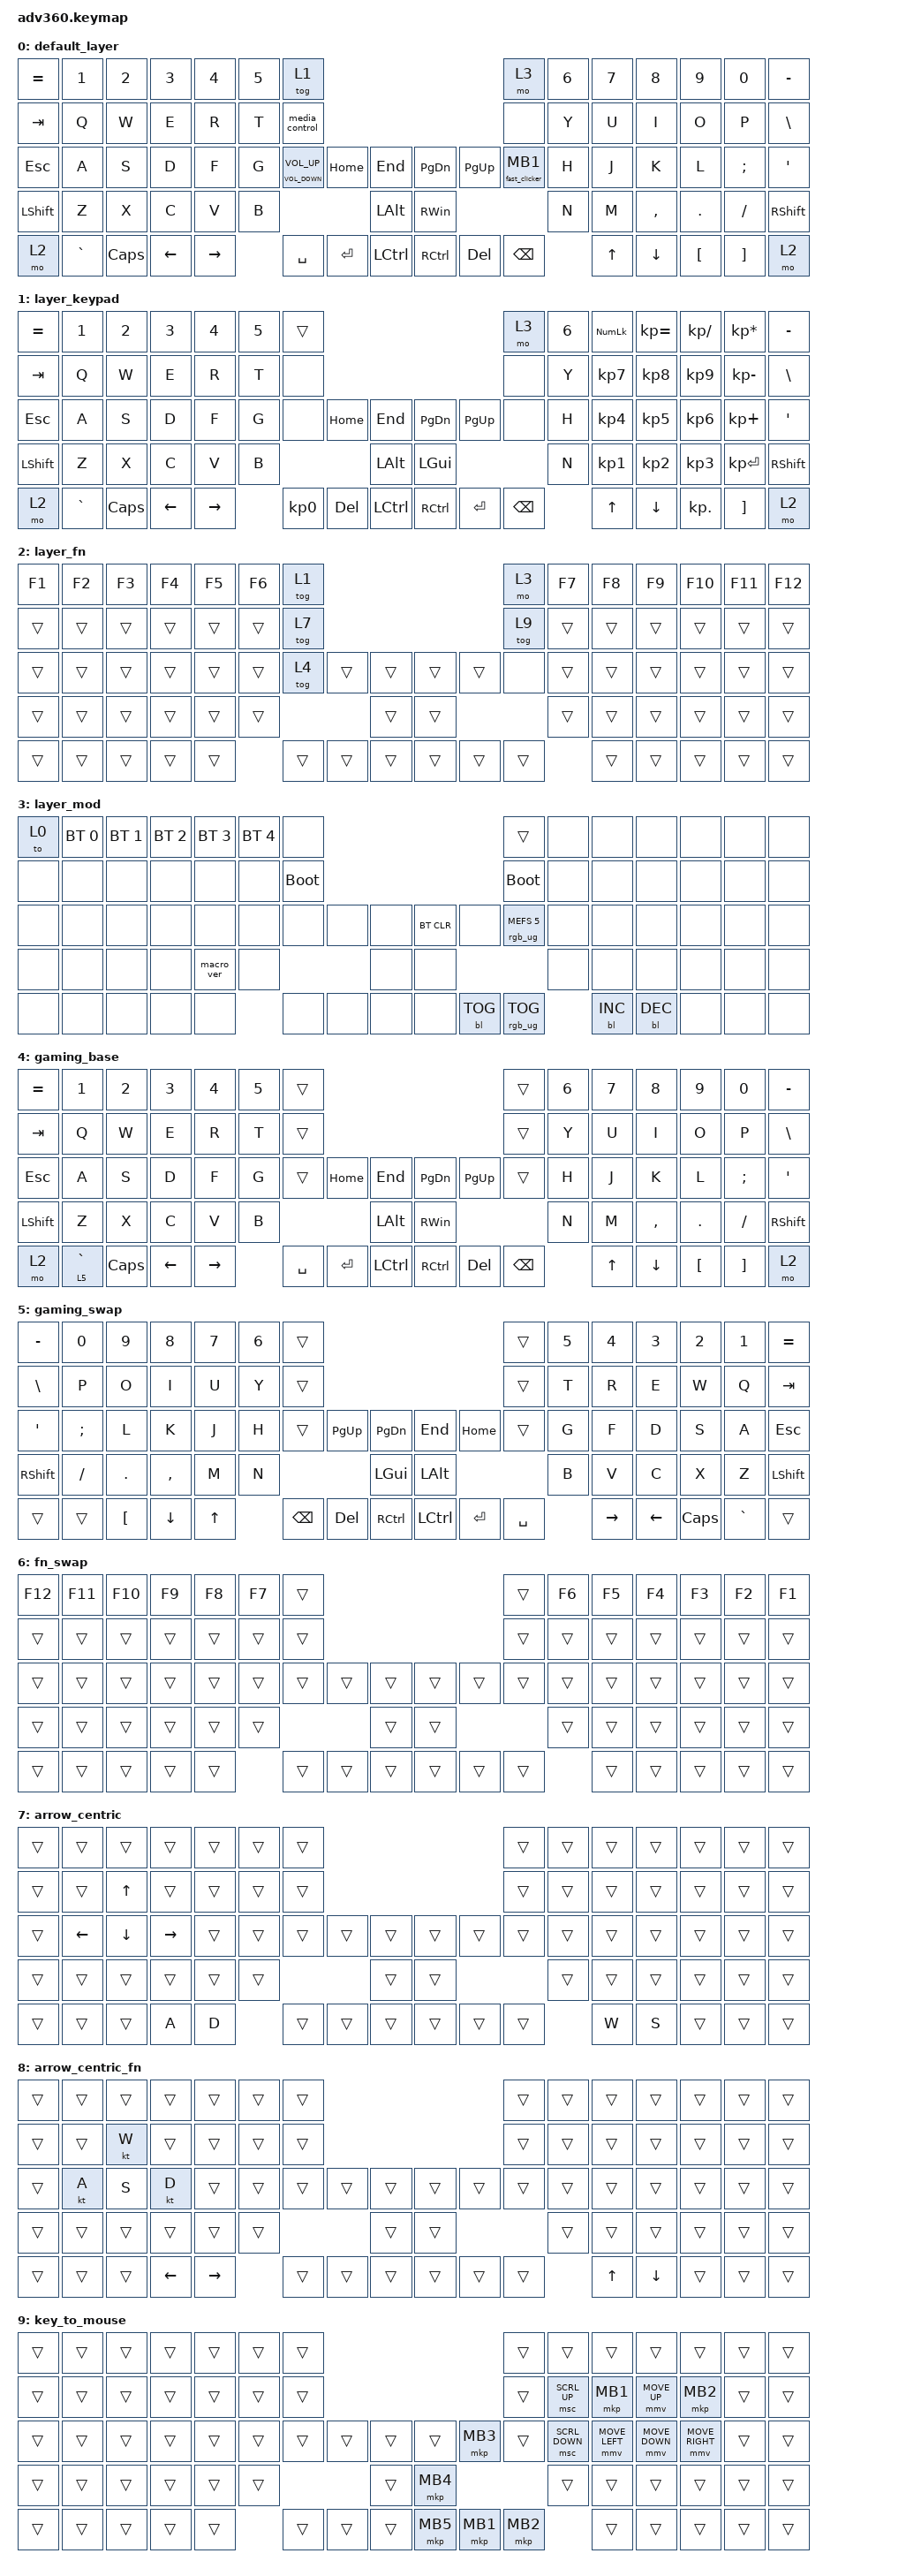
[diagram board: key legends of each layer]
/*
 * Copyright (c) 2020 The ZMK Contributors
 *
 * SPDX-License-Identifier: MIT
 */
/* THIS FILE WAS GENERATED!
 *
 * This file was generated automatically. You may or may not want to
 * edit it directly.
 */

#include <behaviors.dtsi>
#include <dt-bindings/zmk/backlight.h>
#include <dt-bindings/zmk/bt.h>
#include <dt-bindings/zmk/keys.h>
#include <dt-bindings/zmk/pointing.h>
#include <dt-bindings/zmk/rgb.h>
#include <dt-bindings/zmk/stp.h>
#include <dt-bindings/zmk/pointing.h>

/ {
    behaviors {
      #include "macros.dtsi"
      #include "version.dtsi"

        hm: homerow_mods {
            compatible = "zmk,behavior-hold-tap";
            label = "HOMEROW_MODS";
            #binding-cells = <2>;
            tapping-term-ms = <200>;
            quick_tap_ms = <175>;
            flavor = "tap-preferred";
            bindings = <&kp>, <&kp>;
        };

        media_control: media_control {
            compatible = "zmk,behavior-tap-dance";
            label = "MEDIA_CONTROL";
            #binding-cells = <0>;
            bindings = <&kp C_PLAY_PAUSE>, <&kp C_NEXT>, <&kp C_PREVIOUS>;

            tapping-term-ms = <400>;
        };

        key_or_mode: key_or_mode {
            compatible = "zmk,behavior-hold-tap";
            label = "KEY_OR_MODE";
            bindings = <&mo>, <&kp>;

            #binding-cells = <2>;
            tapping-term-ms = <200>;
            hold-while-undecided;
            quick-tap-ms = <175>;
        };
    };

    combos {
        compatible = "zmk,combos";

        fast_right_click {
            bindings = <&fast_clicker RCLK>;
            key-positions = <39 59>;
        };
    };

    macros {
        fast_clicker: fast_clicker {
            compatible = "zmk,behavior-macro-one-param";
            #binding-cells = <1>;
            bindings =
                <&macro_tap>,
                <&macro_param_1to1 &mkp MACRO_PLACEHOLDER &macro_param_1to1 &mkp MACRO_PLACEHOLDER &macro_param_1to1 &mkp MACRO_PLACEHOLDER &macro_param_1to1 &mkp MACRO_PLACEHOLDER &macro_param_1to1 &mkp MACRO_PLACEHOLDER &macro_param_1to1 &mkp MACRO_PLACEHOLDER &macro_param_1to1 &mkp MACRO_PLACEHOLDER &macro_param_1to1 &mkp MACRO_PLACEHOLDER &macro_param_1to1 &mkp MACRO_PLACEHOLDER &macro_param_1to1 &mkp MACRO_PLACEHOLDER &macro_param_1to1 &mkp MACRO_PLACEHOLDER &macro_param_1to1 &mkp MACRO_PLACEHOLDER &macro_param_1to1 &mkp MACRO_PLACEHOLDER &macro_param_1to1 &mkp MACRO_PLACEHOLDER &macro_param_1to1 &mkp MACRO_PLACEHOLDER &macro_param_1to1 &mkp MACRO_PLACEHOLDER &macro_param_1to1 &mkp MACRO_PLACEHOLDER &macro_param_1to1 &mkp MACRO_PLACEHOLDER &macro_param_1to1 &mkp MACRO_PLACEHOLDER &macro_param_1to1 &mkp MACRO_PLACEHOLDER &macro_param_1to1 &mkp MACRO_PLACEHOLDER &macro_param_1to1 &mkp MACRO_PLACEHOLDER &macro_param_1to1 &mkp MACRO_PLACEHOLDER &macro_param_1to1 &mkp MACRO_PLACEHOLDER &macro_param_1to1 &mkp MACRO_PLACEHOLDER &macro_param_1to1 &mkp MACRO_PLACEHOLDER &macro_param_1to1 &mkp MACRO_PLACEHOLDER &macro_param_1to1 &mkp MACRO_PLACEHOLDER &macro_param_1to1 &mkp MACRO_PLACEHOLDER &macro_param_1to1 &mkp MACRO_PLACEHOLDER>;

            label = "FAST_CLICKER";
            wait-ms = <1>;
            tap-ms = <1>;
        };
    };

    keymap {
        compatible = "zmk,keymap";

        default_layer {
            bindings = <
&kp EQUAL  &kp N1     &kp N2    &kp N3    &kp N4     &kp N5  &tog 1                                                                          &mo 3              &kp N6  &kp N7  &kp N8     &kp N9    &kp N0    &kp MINUS
&kp TAB    &kp Q      &kp W     &kp E     &kp R      &kp T   &media_control                                                                  &none              &kp Y   &kp U   &kp I      &kp O     &kp P     &kp BSLH
&kp ESC    &kp A      &kp S     &kp D     &kp F      &kp G   &mt C_VOLUME_DOWN C_VOLUME_UP  &kp HOME   &kp END        &kp PG_DN  &kp PG_UP   &fast_clicker MB1  &kp H   &kp J   &kp K      &kp L     &kp SEMI  &kp SQT
&kp LSHFT  &kp Z      &kp X     &kp C     &kp V      &kp B                                             &kp LALT       &kp RWIN                                  &kp N   &kp M   &kp COMMA  &kp DOT   &kp FSLH  &kp RSHFT
&mo 2      &kp GRAVE  &kp CAPS  &kp LEFT  &kp RIGHT          &kp SPACE                      &kp ENTER  &kp LCTRL      &kp RCTRL  &kp DELETE  &kp BACKSPACE              &kp UP  &kp DOWN   &kp LBKT  &kp RBKT  &mo 2
            >;
        };

        layer_keypad {
            bindings = <
&kp EQUAL  &kp N1     &kp N2    &kp N3    &kp N4     &kp N5  &trans                                                                     &mo 3          &kp N6  &kp KP_NUM  &kp KP_EQUAL  &kp KP_DIVIDE  &kp KP_MULTIPLY  &kp MINUS
&kp TAB    &kp Q      &kp W     &kp E     &kp R      &kp T   &none                                                                      &none          &kp Y   &kp KP_N7   &kp KP_N8     &kp KP_N9      &kp KP_MINUS     &kp BSLH
&kp ESC    &kp A      &kp S     &kp D     &kp F      &kp G   &none      &kp HOME  &kp END               &kp PAGE_DOWN      &kp PAGE_UP  &none          &kp H   &kp KP_N4   &kp KP_N5     &kp KP_N6      &kp KP_PLUS      &kp SQT
&kp LSHFT  &kp Z      &kp X     &kp C     &kp V      &kp B                        &kp LEFT_ALT          &kp LGUI                                       &kp N   &kp KP_N1   &kp KP_N2     &kp KP_N3      &kp KP_ENTER     &kp RSHFT
&mo 2      &kp GRAVE  &kp CAPS  &kp LEFT  &kp RIGHT          &kp KP_N0  &kp DEL   &kp LEFT_CONTROL      &kp RIGHT_CONTROL  &kp ENTER    &kp BACKSPACE          &kp UP      &kp DOWN      &kp KP_DOT     &kp RBKT         &mo 2
            >;
        };

        layer_fn {
            bindings = <
&kp F1  &kp F2  &kp F3  &kp F4  &kp F5  &kp F6  &tog 1                                      &mo 3   &kp F7  &kp F8  &kp F9  &kp F10  &kp F11  &kp F12
&trans  &trans  &trans  &trans  &trans  &trans  &tog 7                                      &tog 9  &trans  &trans  &trans  &trans   &trans   &trans
&trans  &trans  &trans  &trans  &trans  &trans  &tog 4  &trans  &trans      &trans  &trans  &none   &trans  &trans  &trans  &trans   &trans   &trans
&trans  &trans  &trans  &trans  &trans  &trans                  &trans      &trans                  &trans  &trans  &trans  &trans   &trans   &trans
&trans  &trans  &trans  &trans  &trans          &trans  &trans  &trans      &trans  &trans  &trans          &trans  &trans  &trans   &trans   &trans
            >;
        };

        layer_mod {
            bindings = <
&to 0  &bt BT_SEL 0  &bt BT_SEL 1  &bt BT_SEL 2  &bt BT_SEL 3  &bt BT_SEL 4  &none                                                  &trans                  &none  &none       &none       &none  &none  &none
&none  &none         &none         &none         &none         &none         &bootloader                                            &bootloader             &none  &none       &none       &none  &none  &none
&none  &none         &none         &none         &none         &none         &none        &none  &none      &bt BT_CLR  &none       &rgb_ug RGB_MEFS_CMD 5  &none  &none       &none       &none  &none  &none
&none  &none         &none         &none         &macro_ver    &none                             &none      &none                                           &none  &none       &none       &none  &none  &none
&none  &none         &none         &none         &none                       &none        &none  &none      &none       &bl BL_TOG  &rgb_ug RGB_TOG                &bl BL_INC  &bl BL_DEC  &none  &none  &none
            >;
        };

        gaming_base {
            bindings = <
&kp EQUAL  &kp N1                &kp N2    &kp N3    &kp N4     &kp N5  &trans                                                      &trans         &kp N6  &kp N7  &kp N8     &kp N9    &kp N0    &kp MINUS
&kp TAB    &kp Q                 &kp W     &kp E     &kp R      &kp T   &trans                                                      &trans         &kp Y   &kp U   &kp I      &kp O     &kp P     &kp BSLH
&kp ESC    &kp A                 &kp S     &kp D     &kp F      &kp G   &trans     &kp HOME   &kp END        &kp PG_DN  &kp PG_UP   &trans         &kp H   &kp J   &kp K      &kp L     &kp SEMI  &kp SQT
&kp LSHFT  &kp Z                 &kp X     &kp C     &kp V      &kp B                         &kp LALT       &kp RWIN                              &kp N   &kp M   &kp COMMA  &kp DOT   &kp FSLH  &kp RSHFT
&mo 2      &key_or_mode 5 GRAVE  &kp CAPS  &kp LEFT  &kp RIGHT          &kp SPACE  &kp ENTER  &kp LCTRL      &kp RCTRL  &kp DELETE  &kp BACKSPACE          &kp UP  &kp DOWN   &kp LBKT  &kp RBKT  &mo 2
            >;
        };

        gaming_swap {
            bindings = <
&kp MINUS  &kp N0    &kp N9    &kp N8     &kp N7  &kp N6  &trans                                                   &trans     &kp N5  &kp N4     &kp N3    &kp N2    &kp N1     &kp EQUAL
&kp BSLH   &kp P     &kp O     &kp I      &kp U   &kp Y   &trans                                                   &trans     &kp T   &kp R      &kp E     &kp W     &kp Q      &kp TAB
&kp SQT    &kp SEMI  &kp L     &kp K      &kp J   &kp H   &trans    &kp PG_UP  &kp PG_DN      &kp END    &kp HOME  &trans     &kp G   &kp F      &kp D     &kp S     &kp A      &kp ESC
&kp RSHFT  &kp FSLH  &kp DOT   &kp COMMA  &kp M   &kp N                        &kp LGUI       &kp LALT                        &kp B   &kp V      &kp C     &kp X     &kp Z      &kp LSHFT
&trans     &trans    &kp LBKT  &kp DOWN   &kp UP          &kp BSPC  &kp DEL    &kp RCTRL      &kp LCTRL  &kp RET   &kp SPACE          &kp RIGHT  &kp LEFT  &kp CAPS  &kp GRAVE  &trans
            >;
        };

        fn_swap {
            bindings = <
&kp F12  &kp F11  &kp F10  &kp F9  &kp F8  &kp F7  &trans                                      &trans  &kp F6  &kp F5  &kp F4  &kp F3  &kp F2  &kp F1
&trans   &trans   &trans   &trans  &trans  &trans  &trans                                      &trans  &trans  &trans  &trans  &trans  &trans  &trans
&trans   &trans   &trans   &trans  &trans  &trans  &trans  &trans  &trans      &trans  &trans  &trans  &trans  &trans  &trans  &trans  &trans  &trans
&trans   &trans   &trans   &trans  &trans  &trans                  &trans      &trans                  &trans  &trans  &trans  &trans  &trans  &trans
&trans   &trans   &trans   &trans  &trans          &trans  &trans  &trans      &trans  &trans  &trans          &trans  &trans  &trans  &trans  &trans
            >;
        };

        arrow_centric {
            bindings = <
&trans  &trans          &trans          &trans           &trans  &trans  &trans                                      &trans  &trans  &trans  &trans  &trans  &trans  &trans
&trans  &trans          &kp UP_ARROW    &trans           &trans  &trans  &trans                                      &trans  &trans  &trans  &trans  &trans  &trans  &trans
&trans  &kp LEFT_ARROW  &kp DOWN_ARROW  &kp RIGHT_ARROW  &trans  &trans  &trans  &trans  &trans      &trans  &trans  &trans  &trans  &trans  &trans  &trans  &trans  &trans
&trans  &trans          &trans          &trans           &trans  &trans                  &trans      &trans                  &trans  &trans  &trans  &trans  &trans  &trans
&trans  &trans          &trans          &kp A            &kp D           &trans  &trans  &trans      &trans  &trans  &trans          &kp W   &kp S   &trans  &trans  &trans
            >;
        };

        arrow_centric_fn {
            bindings = <
&trans  &trans  &trans  &trans          &trans           &trans  &trans                                      &trans  &trans  &trans        &trans          &trans  &trans  &trans
&trans  &trans  &kt W   &trans          &trans           &trans  &trans                                      &trans  &trans  &trans        &trans          &trans  &trans  &trans
&trans  &kt A   &kp S   &kt D           &trans           &trans  &trans  &trans  &trans      &trans  &trans  &trans  &trans  &trans        &trans          &trans  &trans  &trans
&trans  &trans  &trans  &trans          &trans           &trans                  &trans      &trans                  &trans  &trans        &trans          &trans  &trans  &trans
&trans  &trans  &trans  &kp LEFT_ARROW  &kp RIGHT_ARROW          &trans  &trans  &trans      &trans  &trans  &trans          &kp UP_ARROW  &kp DOWN_ARROW  &trans  &trans  &trans
            >;
        };

        key_to_mouse {
            bindings = <
&trans  &trans  &trans  &trans  &trans  &trans  &trans                                          &trans    &trans          &trans          &trans          &trans           &trans  &trans
&trans  &trans  &trans  &trans  &trans  &trans  &trans                                          &trans    &msc SCRL_UP    &mkp MB1        &mmv MOVE_UP    &mkp MB2         &trans  &trans
&trans  &trans  &trans  &trans  &trans  &trans  &trans  &trans  &trans      &trans    &mkp MB3  &trans    &msc SCRL_DOWN  &mmv MOVE_LEFT  &mmv MOVE_DOWN  &mmv MOVE_RIGHT  &trans  &trans
&trans  &trans  &trans  &trans  &trans  &trans                  &trans      &mkp MB4                      &trans          &trans          &trans          &trans           &trans  &trans
&trans  &trans  &trans  &trans  &trans          &trans  &trans  &trans      &mkp MB5  &mkp MB1  &mkp MB2                  &trans          &trans          &trans           &trans  &trans
            >;
        };
        extra1 { 
      display-name = "Red";    
      status = "reserved";
    };

    extra2 { 
      display-name = "Purple";    
      status = "reserved";
    };

    extra3 { 
      display-name = "Cyan";    
      status = "reserved";
    };

    extra4 { 
      display-name = "Yellow";    
      status = "reserved";
    };
    };

    conditional_layers {
        compatible = "zmk,conditional-layers";

        swap_fn {
            if-layers = <5 2>;
            then-layer = <6>;
        };

        arrow_fn {
            if-layers = <7 2>;
            then-layer = <8>;
        };
    };
};
